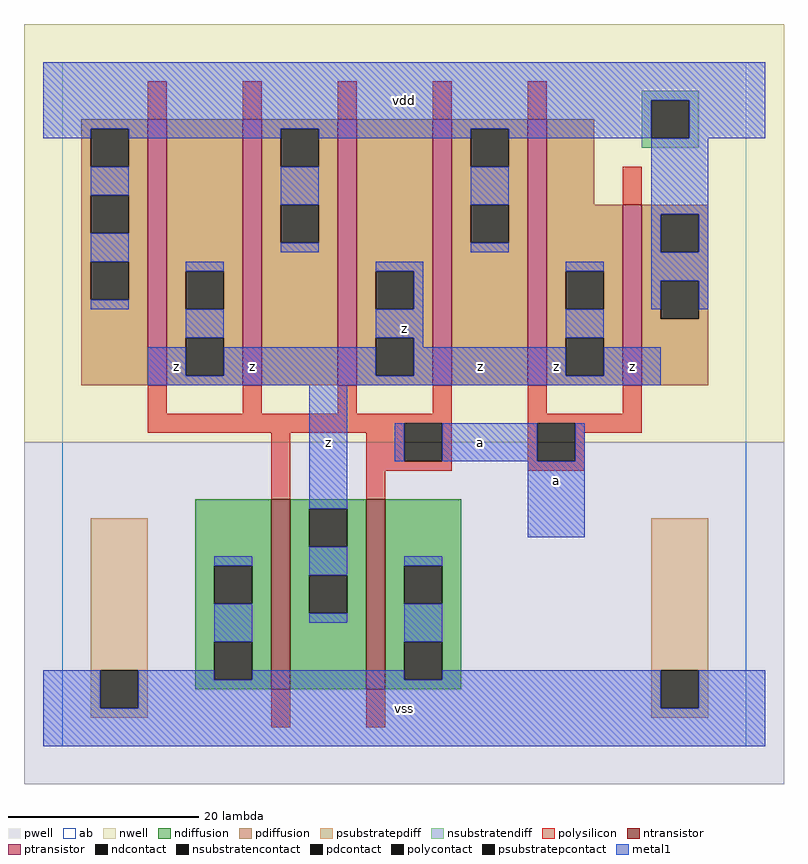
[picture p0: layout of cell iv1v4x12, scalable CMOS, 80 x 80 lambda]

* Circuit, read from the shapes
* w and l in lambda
.subckt iv1v4x12 a vdd vss z
M1 z a vss vss nfet w=20 l=2 m=2
M2 z a vdd vdd pfet w=28 l=2 m=5
M3 vdd a z vdd pfet w=19 l=2
.ends

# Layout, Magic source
magic
tech scmos
<< ab >>
rect 0 0 72 72
<< pwell >>
rect -4 -4 76 32
<< nwell >>
rect -4 32 76 76
<< polysilicon >>
rect 9 66 11 70
rect 19 66 21 70
rect 29 66 31 70
rect 39 66 41 70
rect 49 66 51 70
rect 59 57 61 61
rect 9 35 11 38
rect 19 35 21 38
rect 29 35 31 38
rect 39 35 41 38
rect 9 34 41 35
rect 9 33 36 34
rect 22 26 24 33
rect 32 30 36 33
rect 40 30 41 34
rect 32 29 41 30
rect 49 35 51 38
rect 59 35 61 38
rect 49 34 61 35
rect 49 30 50 34
rect 54 33 61 34
rect 54 30 55 33
rect 49 29 55 30
rect 32 26 34 29
rect 22 2 24 6
rect 32 2 34 6
<< ndiffusion >>
rect 14 19 22 26
rect 14 15 16 19
rect 20 15 22 19
rect 14 11 22 15
rect 14 7 16 11
rect 20 7 22 11
rect 14 6 22 7
rect 24 25 32 26
rect 24 21 26 25
rect 30 21 32 25
rect 24 18 32 21
rect 24 14 26 18
rect 30 14 32 18
rect 24 6 32 14
rect 34 19 42 26
rect 34 15 36 19
rect 40 15 42 19
rect 34 11 42 15
rect 34 7 36 11
rect 40 7 42 11
rect 34 6 42 7
<< pdiffusion >>
rect 2 65 9 66
rect 2 61 3 65
rect 7 61 9 65
rect 2 58 9 61
rect 2 54 3 58
rect 7 54 9 58
rect 2 51 9 54
rect 2 47 3 51
rect 7 47 9 51
rect 2 38 9 47
rect 11 50 19 66
rect 11 46 13 50
rect 17 46 19 50
rect 11 43 19 46
rect 11 39 13 43
rect 17 39 19 43
rect 11 38 19 39
rect 21 65 29 66
rect 21 61 23 65
rect 27 61 29 65
rect 21 57 29 61
rect 21 53 23 57
rect 27 53 29 57
rect 21 38 29 53
rect 31 50 39 66
rect 31 46 33 50
rect 37 46 39 50
rect 31 43 39 46
rect 31 39 33 43
rect 37 39 39 43
rect 31 38 39 39
rect 41 65 49 66
rect 41 61 43 65
rect 47 61 49 65
rect 41 57 49 61
rect 41 53 43 57
rect 47 53 49 57
rect 41 38 49 53
rect 51 57 56 66
rect 51 50 59 57
rect 51 46 53 50
rect 57 46 59 50
rect 51 43 59 46
rect 51 39 53 43
rect 57 39 59 43
rect 51 38 59 39
rect 61 56 68 57
rect 61 52 63 56
rect 67 52 68 56
rect 61 49 68 52
rect 61 45 63 49
rect 67 45 68 49
rect 61 38 68 45
<< metal1 >>
rect -2 68 74 72
rect -2 65 62 68
rect -2 64 3 65
rect 7 64 23 65
rect 3 58 7 61
rect 3 51 7 54
rect 27 64 43 65
rect 23 57 27 61
rect 23 52 27 53
rect 47 64 62 65
rect 66 64 74 68
rect 43 57 47 61
rect 43 52 47 53
rect 62 56 68 64
rect 62 52 63 56
rect 67 52 68 56
rect 3 46 7 47
rect 13 50 17 51
rect 13 43 17 46
rect 9 39 13 42
rect 33 50 38 51
rect 37 46 38 50
rect 33 43 38 46
rect 17 39 33 42
rect 37 42 38 43
rect 53 50 57 51
rect 62 49 68 52
rect 62 46 63 49
rect 53 43 57 46
rect 67 46 68 49
rect 37 39 53 42
rect 57 39 63 42
rect 9 38 63 39
rect 26 25 30 38
rect 35 30 36 34
rect 40 30 50 34
rect 54 30 55 34
rect 49 22 55 30
rect 16 19 20 20
rect 16 11 20 15
rect 26 18 30 21
rect 26 13 30 14
rect 36 19 40 20
rect -2 4 4 8
rect 8 7 16 8
rect 36 11 40 15
rect 20 7 36 8
rect 40 7 63 8
rect 8 4 63 7
rect 67 4 74 8
rect -2 0 74 4
<< ntransistor >>
rect 22 6 24 26
rect 32 6 34 26
<< ptransistor >>
rect 9 38 11 66
rect 19 38 21 66
rect 29 38 31 66
rect 39 38 41 66
rect 49 38 51 66
rect 59 38 61 57
<< polycontact >>
rect 36 30 40 34
rect 50 30 54 34
<< ndcontact >>
rect 16 15 20 19
rect 16 7 20 11
rect 26 21 30 25
rect 26 14 30 18
rect 36 15 40 19
rect 36 7 40 11
<< pdcontact >>
rect 3 61 7 65
rect 3 54 7 58
rect 3 47 7 51
rect 13 46 17 50
rect 13 39 17 43
rect 23 61 27 65
rect 23 53 27 57
rect 33 46 37 50
rect 33 39 37 43
rect 43 61 47 65
rect 43 53 47 57
rect 53 46 57 50
rect 53 39 57 43
rect 63 52 67 56
rect 63 45 67 49
<< psubstratepcontact >>
rect 4 4 8 8
rect 63 4 67 8
<< nsubstratencontact >>
rect 62 64 66 68
<< psubstratepdiff >>
rect 3 8 9 24
rect 3 4 4 8
rect 8 4 9 8
rect 62 8 68 24
rect 3 3 9 4
rect 62 4 63 8
rect 67 4 68 8
rect 62 3 68 4
<< nsubstratendiff >>
rect 61 68 67 69
rect 61 64 62 68
rect 66 64 67 68
rect 61 63 67 64
<< labels >>
rlabel metal1 12 40 12 40 6 z
rlabel metal1 28 32 28 32 6 z
rlabel metal1 20 40 20 40 6 z
rlabel metal1 36 4 36 4 6 vss
rlabel metal1 44 32 44 32 6 a
rlabel metal1 52 28 52 28 6 a
rlabel metal1 44 40 44 40 6 z
rlabel metal1 52 40 52 40 6 z
rlabel metal1 36 44 36 44 6 z
rlabel metal1 36 68 36 68 6 vdd
rlabel metal1 60 40 60 40 6 z
<< end >>
